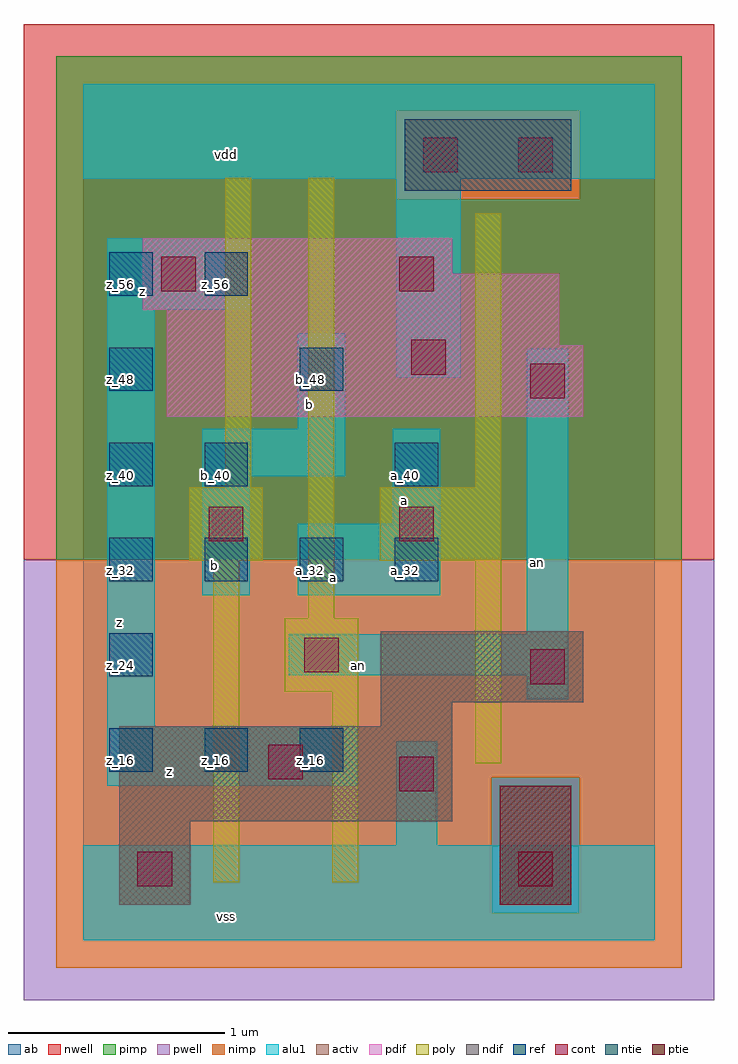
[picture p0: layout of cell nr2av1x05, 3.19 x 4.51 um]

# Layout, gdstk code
import gdstk
lib = gdstk.Library(unit=1e-6, precision=2.5e-09)
def R(c, l, rs):  # rectangles x0, y0, x1, y1
    for r in rs: c.add(gdstk.rectangle(r[:2], r[2:], *l))
def A(c, l, x, y, w, h, nx, ny, dx, dy):  # array of equal rectangles
    R(c, l, [(x+i*dx, y+j*dy, x+i*dx+w, y+j*dy+h) for i in range(nx) for j in range(ny)])
ndif = (3, 0)
pdif = (4, 0)
ntie = (5, 0)
ptie = (6, 0)
ref = (24, 0)
cont = (25, 0)
pwell = (41, 0)
nwell = (42, 0)
activ = (43, 0)
pimp = (44, 0)
nimp = (45, 0)
poly = (46, 0)
alu1 = (49, 0)
ab = (63, 0)

nr2av1x05 = lib.new_cell('nr2av1x05')
R(nr2av1x05, ndif, [(0.165,0.165,0.495,0.55), (0.165,0.55,1.705,0.99), (1.375,0.99,1.705,1.1), (1.375,1.1,2.31,1.43)])
R(nr2av1x05, pdif, [(0.385,2.42,2.31,2.75), (0.385,2.75,2.2,2.915), (0.275,2.915,2.2,3.08), (0.275,3.08,1.705,3.245)])
R(nr2av1x05, ntie, [(1.485,3.465,2.255,3.795)])
R(nr2av1x05, ptie, [(1.925,0.165,2.255,0.715)])
A(nr2av1x05, ref, 0.12, 0.78, 0.2, 0.2, 3, 1, 0.44, 0)
A(nr2av1x05, ref, 0.12, 1.66, 0.2, 0.2, 4, 1, 0.44, 0)
A(nr2av1x05, ref, 0.12, 2.1, 0.2, 0.2, 1, 3, 0, 0.44)
R(nr2av1x05, ref, [(0.12,1.22,0.32,1.42), (0.56,2.1,0.76,2.3), (1.44,2.1,1.64,2.3), (1,2.54,1.2,2.74), (0.56,2.98,0.76,3.18)])
A(nr2av1x05, cont, 1.46, 0.69, 0.16, 0.16, 1, 3, 0, 1.155)
R(nr2av1x05, cont, [(0.25,0.25,0.41,0.41), (2.01,0.25,2.17,0.41), (0.855,0.745,1.015,0.905), (2.065,1.185,2.225,1.345), (1.02,1.24,1.18,1.4), (0.58,1.845,0.74,2.005), (2.065,2.505,2.225,2.665), (1.515,2.615,1.675,2.775), (0.36,3,0.52,3.16), (1.57,3.55,1.73,3.71), (2.01,3.55,2.17,3.71)])
R(nr2av1x05, pwell, [(-0.275,-0.275,2.915,1.76)])
R(nr2av1x05, nwell, [(-0.275,1.76,2.915,4.235)])
R(nr2av1x05, activ, [(0.165,0.165,0.495,0.55), (1.925,0.165,2.255,0.715), (0.165,0.55,1.705,0.99), (1.375,0.99,1.705,1.1), (1.375,1.1,2.31,1.43), (0.385,2.42,2.31,2.75), (0.385,2.75,2.2,2.915), (0.275,2.915,2.2,3.08), (0.275,3.08,1.705,3.245), (1.485,3.465,2.255,3.795)])
R(nr2av1x05, pimp, [(1.885,0.125,2.295,0.755), (-0.125,1.76,2.765,3.425), (-0.125,3.425,1.445,3.835), (2.295,3.425,2.765,3.835), (-0.125,3.835,2.765,4.085)])
R(nr2av1x05, nimp, [(-0.125,-0.125,2.765,0.125), (-0.125,0.125,1.885,0.755), (2.295,0.125,2.765,0.755), (-0.125,0.755,2.765,1.76), (1.445,3.425,2.295,3.835)])
R(nr2av1x05, poly, [(0.6,0.27,0.72,1.755), (1.15,0.27,1.27,1.15), (1.81,0.82,1.93,1.755), (0.93,1.15,1.27,1.49), (1.04,1.49,1.16,3.525), (0.49,1.755,0.83,2.095), (1.37,1.755,1.93,2.095), (0.655,2.095,0.775,3.525), (1.81,2.095,1.93,3.36)])
R(nr2av1x05, alu1, [(0,0,2.64,0.44), (1.445,0.44,1.635,0.92), (0.11,0.715,1.265,0.99), (0.11,0.99,0.33,2.915), (2.05,1.115,2.24,1.225), (0.95,1.225,2.24,1.415), (2.05,1.415,2.24,2.735), (0.55,1.595,0.77,2.145), (0.99,1.595,1.65,1.925), (1.43,1.925,1.65,2.365), (0.55,2.145,1.21,2.365), (0.99,2.365,1.21,2.805), (1.445,2.6,1.745,3.52), (0.11,2.915,0.77,3.245), (0,3.52,2.64,3.96)])
R(nr2av1x05, ab, [(0,0,2.64,3.96)])
nr2av1x05.add(gdstk.Label('vss', (0.66,0.11), layer=49, texttype=0))
nr2av1x05.add(gdstk.Label('z', (0.3975,0.7825), layer=49, texttype=0))
nr2av1x05.add(gdstk.Label('an', (1.2725,1.2725), layer=49, texttype=0))
nr2av1x05.add(gdstk.Label('an', (2.0975,1.745), layer=49, texttype=0))
nr2av1x05.add(gdstk.Label('a', (1.155,1.6775), layer=49, texttype=0))
nr2av1x05.add(gdstk.Label('a', (1.485,2.035), layer=49, texttype=0))
nr2av1x05.add(gdstk.Label('b', (0.605,1.7325), layer=49, texttype=0))
nr2av1x05.add(gdstk.Label('b', (1.045,2.475), layer=49, texttype=0))
nr2av1x05.add(gdstk.Label('z', (0.165,1.47), layer=49, texttype=0))
nr2av1x05.add(gdstk.Label('z', (0.275,2.9975), layer=49, texttype=0))
nr2av1x05.add(gdstk.Label('vdd', (0.66,3.63), layer=49, texttype=0))
nr2av1x05.add(gdstk.Label('z_16', (0.61,0.83), layer=24, texttype=0))
nr2av1x05.add(gdstk.Label('b_32', (0.61,1.71), layer=24, texttype=0))
nr2av1x05.add(gdstk.Label('b_40', (0.61,2.15), layer=24, texttype=0))
nr2av1x05.add(gdstk.Label('z_56', (0.61,3.03), layer=24, texttype=0))
nr2av1x05.add(gdstk.Label('z_16', (1.05,0.83), layer=24, texttype=0))
nr2av1x05.add(gdstk.Label('a_32', (1.05,1.71), layer=24, texttype=0))
nr2av1x05.add(gdstk.Label('b_48', (1.05,2.59), layer=24, texttype=0))
nr2av1x05.add(gdstk.Label('a_32', (1.49,1.71), layer=24, texttype=0))
nr2av1x05.add(gdstk.Label('a_40', (1.49,2.15), layer=24, texttype=0))
nr2av1x05.add(gdstk.Label('z_16', (0.17,0.83), layer=24, texttype=0))
nr2av1x05.add(gdstk.Label('z_24', (0.17,1.27), layer=24, texttype=0))
nr2av1x05.add(gdstk.Label('z_32', (0.17,1.71), layer=24, texttype=0))
nr2av1x05.add(gdstk.Label('z_40', (0.17,2.15), layer=24, texttype=0))
nr2av1x05.add(gdstk.Label('z_48', (0.17,2.59), layer=24, texttype=0))
nr2av1x05.add(gdstk.Label('z_56', (0.17,3.03), layer=24, texttype=0))

lib.write_gds('nr2av1x05.gds')
